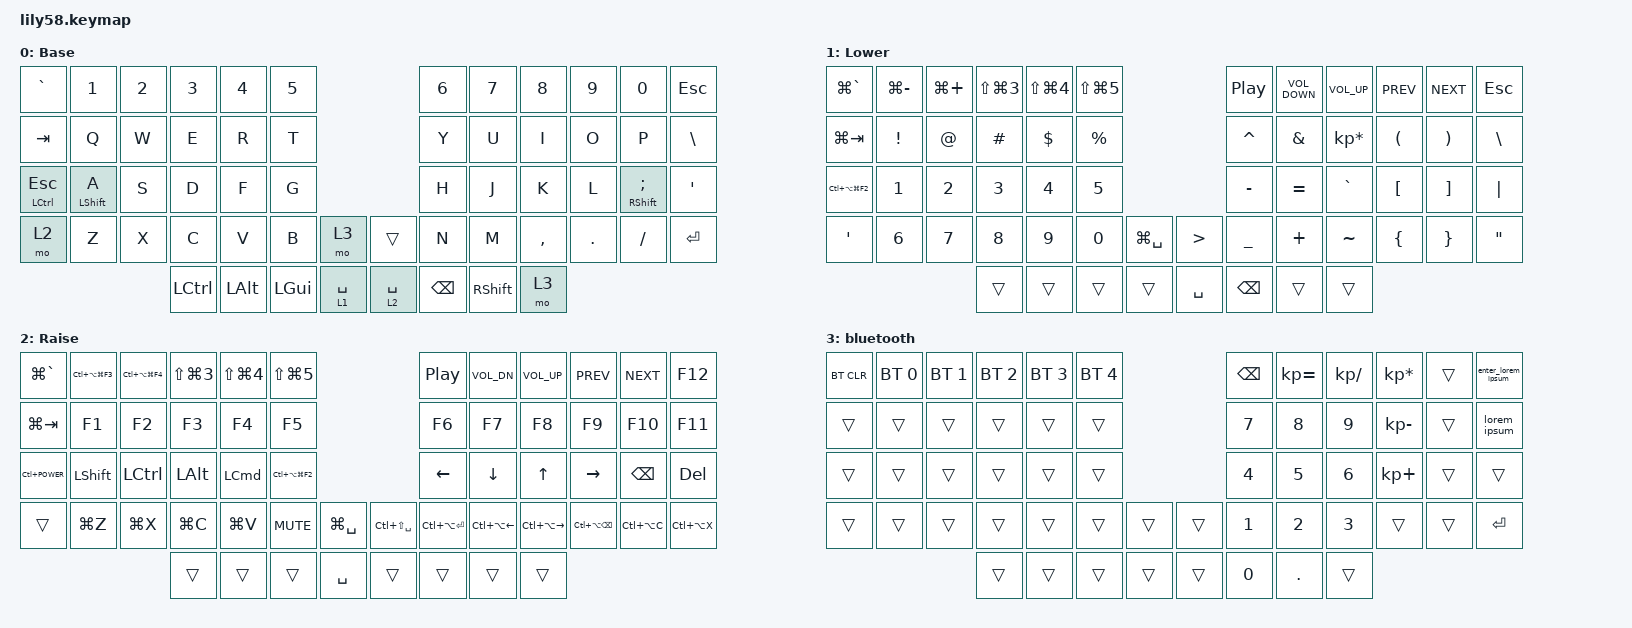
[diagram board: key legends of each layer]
/*
 * Copyright (c) 2020 The ZMK Contributors
 *
 * SPDX-License-Identifier: MIT
 */

#include <behaviors.dtsi>
#include <dt-bindings/zmk/bt.h>
#include <dt-bindings/zmk/keys.h>

/ {
    macros {
        enter_lorem_ipsum: enter_lorem_ipsum {
            compatible = "zmk,behavior-macro";
            #binding-cells = <0>;
            wait-ms = <20>;
            tap-ms = <0>;
            bindings = <&none &kp LS(F) &kp O &kp X &kp SPACE &kp LS(A) &kp R &kp C &kp H &kp I &kp P &kp E &kp L &kp A &kp G &kp O &kp RET>;
            label = "ENTER_LOREM_IPSUM";
        };

        lorem_ipsum: lorem_ipsum {
            compatible = "zmk,behavior-macro";
            #binding-cells = <0>;
            wait-ms = <20>;
            tap-ms = <0>;
            bindings = <&none &kp LS(F) &kp O &kp X &kp SPACE &kp LS(A) &kp R &kp C &kp H &kp I &kp P &kp E &kp L &kp A &kp G &kp O>;
            label = "LOREM_IPSUM";
        };
    };

    behaviors {
        mod_tap_balanced: mod_tap_balanced {
            compatible = "zmk,behavior-hold-tap";
            label = "MOD_TAP_BALANCED";
            bindings = <&kp>, <&kp>;

            #binding-cells = <2>;
            tapping-term-ms = <200>;
            flavor = "balanced";
        };
    };

    keymap {
        compatible = "zmk,keymap";

        default_layer {
            // ------------------------------------------------------------------------------------------------------------
            // |  ESC  |  1  |  2  |  3   |  4   |  5   |                   |  6   |  7    |  8    |  9   |   0   |   `   |
            // |  TAB  |  Q  |  W  |  E   |  R   |  T   |                   |  Y   |  U    |  I    |  O   |   P   |   -   |
            // |  CTRL |  A  |  S  |  D   |  F   |  G   |                   |  H   |  J    |  K    |  L   |   ;   |   '   |
            // | SHIFT |  Z  |  X  |  C   |  V   |  B   |   "["  |  |  "]"  |  N   |  M    |  ,    |  .   |   /   | SHIFT |
            //                     | ALT  | GUI  | LOWER|  SPACE |  | ENTER | RAISE| BSPC  | GUI   |

            label = "Base";
            bindings = <
&kp GRAVE      &kp N1                     &kp N2  &kp N3     &kp N4    &kp N5                                &kp N6    &kp N7      &kp N8     &kp N9   &kp N0                         &kp ESCAPE
&kp TAB        &kp Q                      &kp W   &kp E      &kp R     &kp T                                 &kp Y     &kp U       &kp I      &kp O    &kp P                          &kp BACKSLASH
&mt LCTRL ESC  &mod_tap_balanced LSHFT A  &kp S   &kp D      &kp F     &kp G                                 &kp H     &kp J       &kp K      &kp L    &mod_tap_balanced RSHIFT SEMI  &kp SQT
&mo 2          &kp Z                      &kp X   &kp C      &kp V     &kp B     &mo 3          &trans       &kp N     &kp M       &kp COMMA  &kp DOT  &kp FSLH                       &kp RETURN
                                                  &kp LCTRL  &kp LALT  &kp LGUI  &lt 1 SPACE    &lt 2 SPACE  &kp BSPC  &kp RSHIFT  &mo 3
            >;
        };

        lower_layer {
            // ------------------------------------------------------------------------------------------------------------
            // | BTCLR | BT1 | BT2 |  BT3 |  BT4 |  BT5 |                   |      |       |       |      |       |       |
            // |  F1   |  F2 |  F3 |  F4  |  F5  |  F6  |                   |  F7  |  F8   |  F9   |  F10 |  F11  |  F12  |
            // |   `   |  !  |  @  |  #   |  $   |  %   |                   |  ^   |  &    |  *    |  (   |   )   |   ~   |
            // |       |     |     |      |      |      |        |  |       |      |  _    |  +    |  {   |   }   |  "|"  |
            //                     |      |      |      |        |  |       |      |       |       |

            label = "Lower";
            bindings = <
&kp LG(GRAVE)       &kp LG(MINUS)  &kp LG(PLUS)  &kp LS(LG(NUMBER_3))  &kp LS(LG(NUMBER_4))  &kp LS(LG(N5))                                     &kp C_PP        &kp K_VOLUME_DOWN  &kp K_VOL_UP     &kp C_PREV            &kp C_NEXT             &kp ESCAPE
&kp LG(TAB)         &kp EXCL       &kp AT        &kp HASH              &kp DOLLAR            &kp PERCENT                                        &kp CARET       &kp AMPS           &kp KP_ASTERISK  &kp LEFT_PARENTHESIS  &kp RIGHT_PARENTHESIS  &kp BACKSLASH
&kp LC(LA(LG(F2)))  &kp NUMBER_1   &kp NUMBER_2  &kp NUMBER_3          &kp NUMBER_4          &kp N5                                             &kp MINUS       &kp EQUAL          &kp GRAVE        &kp LEFT_BRACKET      &kp RIGHT_BRACKET      &kp PIPE
&kp SQT             &kp NUMBER_6   &kp NUMBER_7  &kp NUMBER_8          &kp NUMBER_9          &kp NUMBER_0    &kp LG(SPACE)    &kp GREATER_THAN  &kp UNDERSCORE  &kp PLUS           &kp TILDE        &kp LBRC              &kp RBRC               &kp DOUBLE_QUOTES
                                                 &trans                &trans                &trans          &trans           &kp SPACE         &kp BSPC        &trans             &trans
            >;
        };

        raise_layer {
            // ------------------------------------------------------------------------------------------------------------
            // |       |     |     |      |      |      |                   |      |       |       |      |       |       |
            // |   `   |  1  |  2  |  3   |  4   |  5   |                   |  6   |   7   |   8   |  9   |   0   |       |
            // |   F1  |  F2 |  F3 |  F4  |  F5  |  F6  |                   |      |   <-  |   v   |  ^   |  ->   |       |
            // |   F7  |  F8 |  F9 |  F10 |  F11 |  F12 |        |  |       |  +   |   -   |   =   |  [   |   ]   |   \   |
            //                     |      |      |      |        |  |       |      |       |       |

            label = "Raise";
            bindings = <
&kp LG(GRAVE)    &kp LC(LA(LG(F3)))  &kp LC(LA(LG(F4)))  &kp LS(LG(NUMBER_3))  &kp LS(LG(NUMBER_4))  &kp LS(LG(NUMBER_5))                                      &kp C_PP           &kp K_VOL_DN      &kp K_VOL_UP       &kp C_PREV        &kp C_NEXT     &kp F12
&kp LG(TAB)      &kp F1              &kp F2              &kp F3                &kp F4                &kp F5                                                    &kp F6             &kp F7            &kp F8             &kp F9            &kp F10        &kp F11
&kp LC(K_POWER)  &kp LEFT_SHIFT      &kp LCTRL           &kp LEFT_ALT          &kp LEFT_COMMAND      &kp LC(LA(LG(F2)))                                        &kp LEFT           &kp DOWN          &kp UP             &kp RIGHT         &kp BSPC       &kp DEL
&trans           &kp LG(Z)           &kp LG(X)           &kp LG(C)             &kp LG(V)             &kp K_MUTE            &kp LG(SPACE)    &kp LC(LS(SPACE))  &kp LC(LA(ENTER))  &kp LC(LA(LEFT))  &kp LC(LA(RIGHT))  &kp LC(LA(BSPC))  &kp LC(LA(C))  &kp LC(LA(X))
                                                         &trans                &trans                &trans                &kp SPACE        &trans             &trans             &trans            &trans
            >;
        };

        bluetooth {
            bindings = <
&bt BT_CLR  &bt BT_SEL 0  &bt BT_SEL 1  &bt BT_SEL 2  &bt BT_SEL 3  &bt BT_SEL 4                    &kp BACKSPACE  &kp KP_EQUAL  &kp KP_DIVIDE  &kp KP_MULTIPLY  &trans  &enter_lorem_ipsum
&trans      &trans        &trans        &trans        &trans        &trans                          &kp N7         &kp N8        &kp N9         &kp KP_SUBTRACT  &trans  &lorem_ipsum
&trans      &trans        &trans        &trans        &trans        &trans                          &kp N4         &kp N5        &kp N6         &kp KP_PLUS      &trans  &trans
&trans      &trans        &trans        &trans        &trans        &trans        &trans    &trans  &kp N1         &kp N2        &kp N3         &trans           &trans  &kp RET
                                        &trans        &trans        &trans        &trans    &trans  &kp N0         &kp PERIOD    &trans
            >;
        };
    };
};
